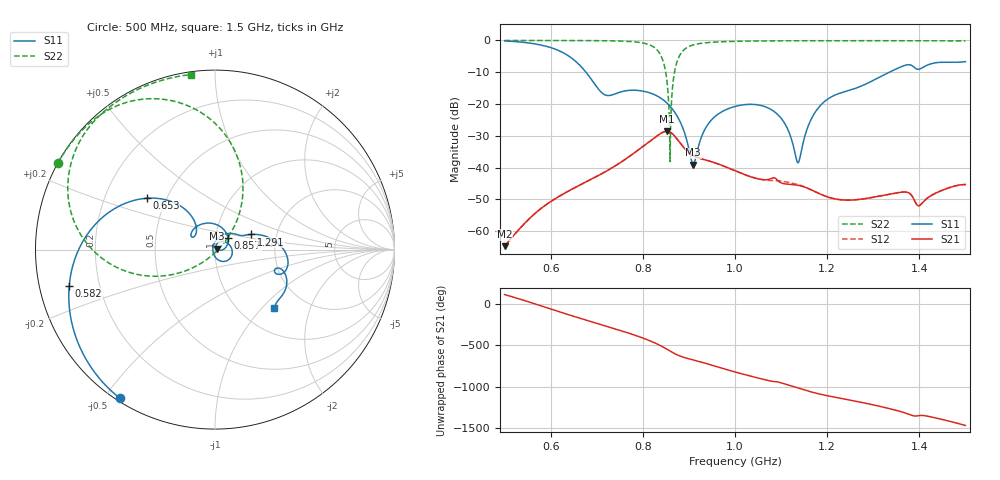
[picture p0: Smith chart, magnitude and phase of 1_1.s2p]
! TOUCHSTONE file generated by CST MICROWAVE STUDIO
! Date and time: Fri Oct  2 17:13:19 2020
! Project name: Scenario_1_Free_Space_out_of_line.cst
! Parameters = {Lambda=346.42; Step_1=17.321; dy1=346; dx1=173; L_HA=400; MT=2.54; Rad_Dielectric=30; Rad_Lower=7.3; Rad_Upper=30; a_HA=580; a_WG=246; b_HA=500; b_WG=121; c_HA=0; c_WG=187; d_feed=85; h_feed=15; h_lower=18; h_upper=40}
! Header version: 2018
! Port assignment regex: !\s*Touchstone port\s*([0-9]+)\s*=\s*(CST MWS port|CST DS port)\s*([0-9]+|Zmin|Zmax)\s*\(\"(.*)\"\)(\s*mode\s*([0-9]+))?.*
! Touchstone port assignment:
! Touchstone port 1 = CST MWS port 1 ("")
! Touchstone port 2 = CST MWS port 2 ("")
# GHz S DB R 50
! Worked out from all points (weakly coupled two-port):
!   1003 points, 500 MHz to 1.5 GHz, reference 50 ohm
!   highest |S21| = -28.59 dB at 852 MHz (marker M1); lowest = -64.7 dB at 500 MHz (marker M2)
!   lowest |S11| = -39.1 dB at 909 MHz (marker M3), VSWR 1.02, Z = 51 + j0.586 ohm
!   |S11| at or under -10 dB: 676.6 MHz to 1.335 GHz (658.3 MHz wide, 65.5 % of centre)
!   |S22| runs from -38.1 to 0.0 dB; largest |S21 - S12| = 0.0011
!   S11 on the Smith chart (normalised r, x): 500 MHz: 0.01, -0.55; 582 MHz: 0.09, -0.12; 653 MHz: 0.39, +0.29; 857 MHz: 1.15, +0.15; 1.291 GHz: 1.48, +0.26; 1.5 GHz: 1.41, -1.17
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0.5  -0.15 -122.7  -64.74 108.5  -64.74 108.5  -0.01 151.1
0.582  -1.55 -166.1  -52.55 -32.9  -52.55 -32.9  -0.01 145.4
0.653  -6.43 143.1  -46.29 -158.5  -46.29 -158.5  -0.04 139.6
0.667  -8.39 133.8  -45.24 177.6  -45.24 177.6  -0.04 138.3
0.719  -17.21 140.4  -41.28 91.0  -41.28 91.0  -0.09 132.3
0.789  -15.73 126.3  -34.59 -32.6  -34.59 -32.6  -0.56 117.2
0.834  -17.72 75.5  -29.71 -134.1  -29.71 -134.1  -3.52 86.9
0.852  -19.66 48.9  -28.59 171.7  -28.59 171.7  -12.37 55.9
0.857  -20.39 41.1  -28.72 155.2  -28.72 155.2  -22.83 38.8
0.862  -21.21 33.2  -29.12 139.0  -29.12 139.0  -19.70 -134.9
0.867  -22.16 25.4  -29.77 123.5  -29.77 123.5  -11.49 -149.0
0.876  -24.22 11.8  -31.34 99.3  -31.34 99.4  -5.97 -165.8
0.909  -39.10 31.2  -36.20 42.5  -36.20 42.5  -1.43 163.0
0.944  -25.86 58.4  -37.95 -11.4  -37.96 -11.4  -0.64 150.4
1  -20.78 6.7  -41.02 -102.8  -41.01 -102.9  -0.28 140.3
1.089  -22.83 -62.8  -43.55 141.3  -44.11 132.7  -0.13 130.7
1.136  -38.47 -172.6  -45.57 65.7  -45.34 64.8  -0.10 126.6
1.167  -24.32 78.7  -47.13 14.8  -47.11 14.7  -0.10 124.1
1.291  -13.23 22.8  -49.58 -127.4  -49.58 -127.4  -0.08 114.7
1.334  -10.06 11.7  -48.41 177.8  -48.41 177.8  -0.09 111.4
1.399  -9.07 -18.0  -52.03 92.5  -52.03 92.5  -0.10 106.3
1.5  -6.68 -44.9  -45.35 -26.1  -45.35 -26.1  -0.14 97.9
